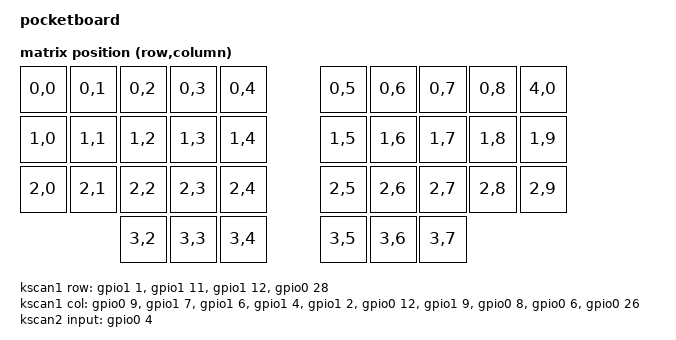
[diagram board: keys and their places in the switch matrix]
/*
 * Copyright (c) 2021 The ZMK Contributors
 *
 * SPDX-License-Identifier: MIT
 */

/dts-v1/;

#include <nordic/nrf52840_qiaa.dtsi>
#include <dt-bindings/zmk/matrix_transform.h>
#include "pocketboard-pinctrl.dtsi"

/ {
    model = "pocketboard";
    compatible = "pocketboard";

    chosen {
        zephyr,code-partition = &code_partition;
        zephyr,sram = &sram0;
        zephyr,flash = &flash0;
        zmk,battery = &fuel_gauge;
        zephyr,display = &st7735_display;
        zmk,kscan = &kscan0;
        zmk,matrix-transform = &default_transform;
    };

    default_transform: keymap_transform_0 {
        compatible = "zmk,matrix-transform";
        columns = <10>;
        rows = <4>;

        map = <
            RC(0,0) RC(0,1) RC(0,2) RC(0,3) RC(0,4)         RC(0,5) RC(0,6) RC(0,7) RC(0,8) RC(4,0)
            RC(1,0) RC(1,1) RC(1,2) RC(1,3) RC(1,4)         RC(1,5) RC(1,6) RC(1,7) RC(1,8) RC(1,9)
            RC(2,0) RC(2,1) RC(2,2) RC(2,3) RC(2,4)         RC(2,5) RC(2,6) RC(2,7) RC(2,8) RC(2,9)
                            RC(3,2) RC(3,3) RC(3,4)         RC(3,5) RC(3,6) RC(3,7)
        >;
    };

    kscan0: kscan_composite {
        compatible = "zmk,kscan-composite";
        wakeup-source;

        matrix {
            kscan = <&kscan1>;
        };

        direct {
            kscan = <&kscan2>;
            row-offset = <4>;
        };
    };

    kscan1: kscan_matrix {
        compatible = "zmk,kscan-gpio-matrix";
        diode-direction = "col2row";
        wakeup-source;
        col-gpios = <&gpio0 9 GPIO_ACTIVE_HIGH>,
                    <&gpio1 7 GPIO_ACTIVE_HIGH>,
                    <&gpio1 6 GPIO_ACTIVE_HIGH>,
                    <&gpio1 4 GPIO_ACTIVE_HIGH>,
                    <&gpio1 2 GPIO_ACTIVE_HIGH>,
                    <&gpio0 12 GPIO_ACTIVE_HIGH>,
                    <&gpio1 9 GPIO_ACTIVE_HIGH>,
                    <&gpio0 8 GPIO_ACTIVE_HIGH>,
                    <&gpio0 6 GPIO_ACTIVE_HIGH>,
                    <&gpio0 26 GPIO_ACTIVE_HIGH>;

        row-gpios = <&gpio1 1 (GPIO_ACTIVE_HIGH | GPIO_PULL_DOWN)>,
                    <&gpio1 11 (GPIO_ACTIVE_HIGH | GPIO_PULL_DOWN)>,
                    <&gpio1 12 (GPIO_ACTIVE_HIGH | GPIO_PULL_DOWN)>,
                    <&gpio0 28 (GPIO_ACTIVE_HIGH | GPIO_PULL_DOWN)>;
    };

    kscan2: kscan_direct {
        compatible = "zmk,kscan-gpio-direct";
        wakeup-source;
        input-gpios = <&gpio0 4 (GPIO_ACTIVE_LOW | GPIO_PULL_UP)>;
    };
};

&pwm0 {
	status = "disabled";
	pinctrl-0 = <&pwm0_default>;
	pinctrl-1 = <&pwm0_sleep>;
	pinctrl-names = "default", "sleep";
};

&gpiote {
    status = "okay";
};

&gpio0 {
    status = "okay";
    // This is a list of all unused GPIOs on this port to be disabled
    // gpio-reset-pin = <5>, <27>, <1>, <0>, <13>, <14>, <16>, <17>, <19>,
    //                    <20>, <21>, <22>, <23>, <24>, <25>, <10>, <29>, <31>, <30>;
};

&gpio1 {
    status = "okay";
    // This is a list of all unused GPIOs on this port to be disabled
    // gpio-reset-pin = <8>, <0>, <3>, <5>, <10>;
};

&i2c0 {
    compatible = "nordic,nrf-twim";
    status = "okay";
    clock-frequency = <I2C_BITRATE_STANDARD>;
    pinctrl-0 = <&i2c0_default>;
    pinctrl-1 = <&i2c0_sleep>;
    pinctrl-names = "default", "sleep";

    fuel_gauge: max17048@36 {
        compatible = "zmk,maxim-max17048";
        reg = <0x36>;
        status = "okay";
    };
};

zephyr_udc0: &usbd {
    status = "okay";
};

&spi1 {
    compatible = "nordic,nrf-spim";
    status = "okay";
    pinctrl-0 = <&spi1_default>;
    pinctrl-1 = <&spi1_sleep>;
    pinctrl-names = "default", "sleep";
    cs-gpios = <&gpio1 13 GPIO_ACTIVE_LOW>;
};

/ {
    mipi_dbi {
        compatible = "zephyr,mipi-dbi-spi";
        reset-gpios = <&gpio1 14 GPIO_ACTIVE_LOW>;
        dc-gpios = <&gpio1 15 GPIO_ACTIVE_HIGH>;
        spi-dev = <&spi1>;
        write-only;
        #address-cells = <1>;
        #size-cells = <0>;

        st7735_display: st7735r@0 {
            compatible = "sitronix,st7735r";
            reg = <0>;
            mipi-max-frequency = <8000000>;
            mipi-mode = "MIPI_DBI_MODE_SPI_4WIRE";
            width = <80>;
            height = <160>;
            x-offset = <10>;
            y-offset = <0>;
            madctl = <0x00>;
            colmod = <0x55>;
            vmctr1 = <0x0e>;
            pwctr1 = [A2 02 84];
            pwctr2 = [C5];
            pwctr3 = [0A 00];
            pwctr4 = [8A 2A];
            pwctr5 = [8A EE];
            gamctrp1 = [10 0E 02 03 0E 07 02 07 0A 12 27 37 00 0D 0E 10];
            gamctrn1 = [10 0E 03 03 0F 06 02 08 0A 13 26 36 00 0D 0E 10];
        };
    };
};


&flash0 {
    /*
     * For more information, see:
     * http://docs.zephyrproject.org/latest/devices/dts/flash_partitions.html
     */
    partitions {
        compatible = "fixed-partitions";
        #address-cells = <1>;
        #size-cells = <1>;

        sd_partition: partition@0 {
            reg = <0x00000000 0x00026000>;
        };
        code_partition: partition@26000 {
            reg = <0x00026000 0x000c6000>;
        };

        /*
         * The flash starting at 0x000ec000 and ending at
         * 0x000f3fff is reserved for use by the application.
         */

        /*
         * Storage partition will be used by FCB/LittleFS/NVS
         * if enabled.
         */
        storage_partition: partition@ec000 {
            reg = <0x000ec000 0x00008000>;
        };

        boot_partition: partition@f4000 {
            reg = <0x000f4000 0x0000c000>;
        };
    };
};
